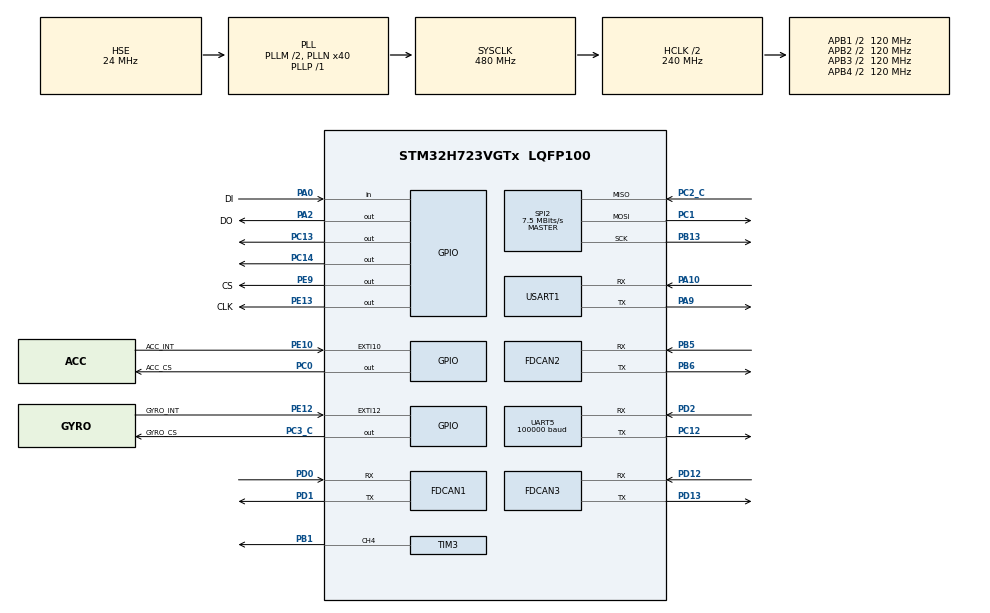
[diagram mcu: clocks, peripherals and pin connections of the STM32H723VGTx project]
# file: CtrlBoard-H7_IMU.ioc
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Dma.Request0=SPI2_RX
Dma.Request1=SPI2_TX
Dma.Request2=UART5_RX
Dma.Request3=USART1_TX
Dma.SPI2_RX.0.Direction=DMA_PERIPH_TO_MEMORY
Dma.SPI2_RX.0.EventEnable=DISABLE
Dma.SPI2_RX.0.FIFOMode=DMA_FIFOMODE_DISABLE
Dma.SPI2_RX.0.Instance=DMA1_Stream0
Dma.SPI2_RX.0.MemDataAlignment=DMA_MDATAALIGN_BYTE
Dma.SPI2_RX.0.MemInc=DMA_MINC_ENABLE
Dma.SPI2_RX.0.Mode=DMA_NORMAL
Dma.SPI2_RX.0.PeriphDataAlignment=DMA_PDATAALIGN_BYTE
Dma.SPI2_RX.0.PeriphInc=DMA_PINC_DISABLE
Dma.SPI2_RX.0.Polarity=HAL_DMAMUX_REQ_GEN_RISING
Dma.SPI2_RX.0.Priority=DMA_PRIORITY_VERY_HIGH
Dma.SPI2_RX.0.RequestNumber=1
Dma.SPI2_RX.0.SignalID=NONE
Dma.SPI2_RX.0.SyncEnable=DISABLE
Dma.SPI2_RX.0.SyncPolarity=HAL_DMAMUX_SYNC_NO_EVENT
Dma.SPI2_RX.0.SyncRequestNumber=1
Dma.SPI2_RX.0.SyncSignalID=NONE
Dma.SPI2_TX.1.Direction=DMA_MEMORY_TO_PERIPH
Dma.SPI2_TX.1.EventEnable=DISABLE
Dma.SPI2_TX.1.FIFOMode=DMA_FIFOMODE_DISABLE
Dma.SPI2_TX.1.Instance=DMA1_Stream2
Dma.SPI2_TX.1.MemDataAlignment=DMA_MDATAALIGN_BYTE
Dma.SPI2_TX.1.MemInc=DMA_MINC_ENABLE
Dma.SPI2_TX.1.Mode=DMA_NORMAL
Dma.SPI2_TX.1.PeriphDataAlignment=DMA_PDATAALIGN_BYTE
Dma.SPI2_TX.1.PeriphInc=DMA_PINC_DISABLE
Dma.SPI2_TX.1.Polarity=HAL_DMAMUX_REQ_GEN_RISING
Dma.SPI2_TX.1.Priority=DMA_PRIORITY_HIGH
Dma.SPI2_TX.1.RequestNumber=1
Dma.SPI2_TX.1.SignalID=NONE
Dma.SPI2_TX.1.SyncEnable=DISABLE
Dma.SPI2_TX.1.SyncPolarity=HAL_DMAMUX_SYNC_NO_EVENT
Dma.SPI2_TX.1.SyncRequestNumber=1
Dma.SPI2_TX.1.SyncSignalID=NONE
Dma.UART5_RX.2.Direction=DMA_PERIPH_TO_MEMORY
Dma.UART5_RX.2.EventEnable=DISABLE
Dma.UART5_RX.2.FIFOMode=DMA_FIFOMODE_DISABLE
Dma.UART5_RX.2.Instance=DMA1_Stream1
Dma.UART5_RX.2.MemDataAlignment=DMA_MDATAALIGN_BYTE
Dma.UART5_RX.2.MemInc=DMA_MINC_ENABLE
Dma.UART5_RX.2.Mode=DMA_NORMAL
Dma.UART5_RX.2.PeriphDataAlignment=DMA_PDATAALIGN_BYTE
Dma.UART5_RX.2.PeriphInc=DMA_PINC_DISABLE
Dma.UART5_RX.2.Polarity=HAL_DMAMUX_REQ_GEN_RISING
Dma.UART5_RX.2.Priority=DMA_PRIORITY_MEDIUM
Dma.UART5_RX.2.RequestNumber=1
Dma.UART5_RX.2.SignalID=NONE
Dma.UART5_RX.2.SyncEnable=DISABLE
Dma.UART5_RX.2.SyncPolarity=HAL_DMAMUX_SYNC_NO_EVENT
Dma.UART5_RX.2.SyncRequestNumber=1
Dma.UART5_RX.2.SyncSignalID=NONE
Dma.USART1_TX.3.Direction=DMA_MEMORY_TO_PERIPH
Dma.USART1_TX.3.EventEnable=DISABLE
Dma.USART1_TX.3.FIFOMode=DMA_FIFOMODE_DISABLE
Dma.USART1_TX.3.Instance=DMA1_Stream3
Dma.USART1_TX.3.MemDataAlignment=DMA_MDATAALIGN_BYTE
Dma.USART1_TX.3.MemInc=DMA_MINC_ENABLE
Dma.USART1_TX.3.Mode=DMA_NORMAL
Dma.USART1_TX.3.PeriphDataAlignment=DMA_PDATAALIGN_BYTE
Dma.USART1_TX.3.PeriphInc=DMA_PINC_DISABLE
Dma.USART1_TX.3.Polarity=HAL_DMAMUX_REQ_GEN_RISING
Dma.USART1_TX.3.Priority=DMA_PRIORITY_LOW
Dma.USART1_TX.3.RequestNumber=1
Dma.USART1_TX.3.SignalID=NONE
Dma.USART1_TX.3.SyncEnable=DISABLE
Dma.USART1_TX.3.SyncPolarity=HAL_DMAMUX_SYNC_NO_EVENT
Dma.USART1_TX.3.SyncRequestNumber=1
Dma.USART1_TX.3.SyncSignalID=NONE
FDCAN1.CalculateBaudRateNominal=1000000
FDCAN1.CalculateTimeBitNominal=1000
FDCAN1.CalculateTimeQuantumNominal=40.0
FDCAN1.DataPrescaler=4
FDCAN1.DataTimeSeg1=19
FDCAN1.DataTimeSeg2=5
FDCAN1.ExtFiltersNbr=5
FDCAN1.NominalPrescaler=4
FDCAN1.NominalTimeSeg1=19
FDCAN1.NominalTimeSeg2=5
FDCAN1.RxFifo0ElmtSize=FDCAN_DATA_BYTES_24
FDCAN1.RxFifo0ElmtsNbr=4
FDCAN1.RxFifo1ElmtSize=FDCAN_DATA_BYTES_24
FDCAN1.StdFiltersNbr=5
FDCAN1.TxElmtSize=FDCAN_DATA_BYTES_24
FDCAN1.TxFifoQueueElmtsNbr=8
FDCAN2.CalculateBaudRateNominal=1000000
FDCAN2.CalculateTimeBitNominal=1000
FDCAN2.CalculateTimeQuantumNominal=50.0
FDCAN2.DataPrescaler=5
FDCAN2.DataTimeSeg1=14
FDCAN2.DataTimeSeg2=5
FDCAN2.ExtFiltersNbr=5
FDCAN2.MessageRAMOffset=854
FDCAN2.NominalPrescaler=5
FDCAN2.NominalTimeSeg1=14
FDCAN2.NominalTimeSeg2=5
FDCAN2.RxFifo1ElmtSize=FDCAN_DATA_BYTES_24
FDCAN2.RxFifo1ElmtsNbr=4
FDCAN2.StdFiltersNbr=5
FDCAN2.TxElmtSize=FDCAN_DATA_BYTES_16
FDCAN2.TxFifoQueueElmtsNbr=4
FDCAN3.CalculateBaudRateNominal=1000000
FDCAN3.CalculateTimeBitNominal=1000
FDCAN3.CalculateTimeQuantumNominal=50.0
FDCAN3.DataPrescaler=5
FDCAN3.DataTimeSeg1=14
FDCAN3.DataTimeSeg2=5
FDCAN3.ExtFiltersNbr=5
FDCAN3.MessageRAMOffset=1709
FDCAN3.NominalPrescaler=5
FDCAN3.NominalTimeSeg1=14
FDCAN3.NominalTimeSeg2=5
FDCAN3.RxFifo0ElmtsNbr=2
FDCAN3.StdFiltersNbr=5
FDCAN3.TxFifoQueueElmtsNbr=3
FREERTOS.MEMORY_ALLOCATION=0
FREERTOS.Tasks01=defaultTask,0,128,StartDefaultTask,Default,NULL,Dynamic,NULL,NULL
FREERTOS.configENABLE_FPU=1
FREERTOS.configTOTAL_HEAP_SIZE=30720
Mcu.Family=STM32H7
Mcu.Name=STM32H723VGTx
Mcu.Package=LQFP100
NVIC.DMA1_Stream0_IRQn=true\:6\:0\:true\:false\:true\:true\:false\:true\:true
NVIC.DMA1_Stream1_IRQn=true\:5\:0\:true\:false\:true\:true\:false\:true\:true
NVIC.DMA1_Stream2_IRQn=true\:6\:0\:true\:false\:true\:true\:false\:true\:true
NVIC.DMA1_Stream3_IRQn=true\:5\:0\:false\:false\:true\:true\:false\:true\:true
NVIC.FDCAN1_IT0_IRQn=true\:6\:0\:true\:false\:true\:true\:true\:true\:true
NVIC.FDCAN1_IT1_IRQn=true\:5\:0\:false\:false\:true\:true\:true\:true\:true
NVIC.FDCAN2_IT0_IRQn=true\:5\:0\:true\:false\:true\:true\:true\:true\:true
NVIC.FDCAN3_IT0_IRQn=true\:5\:0\:false\:false\:true\:true\:true\:true\:true
NVIC.PriorityGroup=NVIC_PRIORITYGROUP_4
NVIC.SPI2_IRQn=true\:5\:0\:true\:false\:true\:true\:false\:true\:true
NVIC.TIM2_IRQn=true\:15\:0\:false\:false\:true\:false\:false\:true\:true
NVIC.TimeBase=TIM2_IRQn
NVIC.TimeBaseIP=TIM2
NVIC.UART5_IRQn=true\:5\:0\:false\:false\:true\:true\:true\:true\:true
NVIC.USART1_IRQn=true\:5\:0\:false\:false\:true\:true\:true\:true\:true
PA0.GPIO_Label=DI
PA0.GPIO_PuPd=GPIO_PULLUP
PA0.Signal=GPIO_Input
PA10.Mode=Asynchronous
PA10.Signal=USART1_RX
PA13(JTMS/SWDIO).Mode=Serial_Wire
PA13(JTMS/SWDIO).Signal=DEBUG_JTMS-SWDIO
PA14(JTCK/SWCLK).Mode=Serial_Wire
PA14(JTCK/SWCLK).Signal=DEBUG_JTCK-SWCLK
PA2.GPIO_Label=DO
PA2.GPIO_PuPd=GPIO_PULLUP
PA2.GPIO_Speed=GPIO_SPEED_FREQ_VERY_HIGH
PA2.PinState=GPIO_PIN_SET
PA2.Signal=GPIO_Output
PA9.Mode=Asynchronous
PA9.Signal=USART1_TX
PB1.Signal=S_TIM3_CH4
PB13.GPIO_Speed=GPIO_SPEED_FREQ_VERY_HIGH
PB13.Mode=Full_Duplex_Master
PB13.Signal=SPI2_SCK
PB5.Mode=FDCAN_Activate
PB5.Signal=FDCAN2_RX
PB6.Mode=FDCAN_Activate
PB6.Signal=FDCAN2_TX
PC0.GPIO_Label=ACC_CS
PC0.GPIO_Speed=GPIO_SPEED_FREQ_VERY_HIGH
PC0.PinState=GPIO_PIN_SET
PC0.Signal=GPIO_Output
PC1.GPIO_Speed=GPIO_SPEED_FREQ_VERY_HIGH
PC1.Mode=Full_Duplex_Master
PC1.Signal=SPI2_MOSI
PC12.Mode=Asynchronous
PC12.Signal=UART5_TX
PC13.Signal=GPIO_Output
PC14-OSC32_IN.Signal=GPIO_Output
PC2_C.GPIO_Speed=GPIO_SPEED_FREQ_VERY_HIGH
PC2_C.Mode=Full_Duplex_Master
PC2_C.Signal=SPI2_MISO
PC3_C.GPIO_Label=GYRO_CS
PC3_C.GPIO_Speed=GPIO_SPEED_FREQ_VERY_HIGH
PC3_C.PinState=GPIO_PIN_SET
PC3_C.Signal=GPIO_Output
PD0.Mode=FDCAN_Activate
PD0.Signal=FDCAN1_RX
PD1.Mode=FDCAN_Activate
PD1.Signal=FDCAN1_TX
PD12.Mode=FDCAN_Activate
PD12.Signal=FDCAN3_RX
PD13.Mode=FDCAN_Activate
PD13.Signal=FDCAN3_TX
PD2.GPIO_PuPd=GPIO_NOPULL
PD2.Mode=Asynchronous
PD2.Signal=UART5_RX
PE10.GPIO_Label=ACC_INT
PE10.Signal=GPXTI10
PE12.GPIO_Label=GYRO_INT
PE12.Signal=GPXTI12
PE13.GPIO_Label=CLK
PE13.GPIO_PuPd=GPIO_PULLUP
PE13.GPIO_Speed=GPIO_SPEED_FREQ_VERY_HIGH
PE13.PinState=GPIO_PIN_SET
PE13.Signal=GPIO_Output
PE9.GPIO_Label=CS
PE9.GPIO_PuPd=GPIO_PULLUP
PE9.GPIO_Speed=GPIO_SPEED_FREQ_VERY_HIGH
PE9.PinState=GPIO_PIN_SET
PE9.Signal=GPIO_Output
PH0-OSC_IN.Mode=HSE-External-Oscillator
PH0-OSC_IN.Signal=RCC_OSC_IN
PH1-OSC_OUT.Mode=HSE-External-Oscillator
PH1-OSC_OUT.Signal=RCC_OSC_OUT
ProjectManager.HeapSize=0x200
ProjectManager.StackSize=0x800
ProjectManager.TargetToolchain=MDK-ARM V5.27
RCC.ADCFreq_Value=100000000
RCC.APB1Freq_Value=120000000
RCC.APB2Freq_Value=120000000
RCC.APB3Freq_Value=120000000
RCC.APB4Freq_Value=120000000
RCC.CortexFreq_Value=480000000
RCC.D1PPRE=RCC_APB3_DIV2
RCC.D2PPRE1=RCC_APB1_DIV2
RCC.D2PPRE2=RCC_APB2_DIV2
RCC.D3PPRE=RCC_APB4_DIV2
RCC.DIVM1=2
RCC.DIVM2=24
RCC.DIVN1=40
RCC.DIVN2=200
RCC.DIVP1=1
RCC.FDCANCLockSelection=RCC_FDCANCLKSOURCE_PLL2
RCC.HCLKFreq_Value=240000000
RCC.HPRE=RCC_HCLK_DIV2
RCC.HSE_VALUE=24000000
RCC.PLL2FRACN=0
RCC.PLL3FRACN=0
RCC.PLLFRACN=0
RCC.PLLSourceVirtual=RCC_PLLSOURCE_HSE
RCC.SYSCLKFreq_VALUE=480000000
RCC.SYSCLKSource=RCC_SYSCLKSOURCE_PLLCLK
RCC.USBFreq_Value=240000000
SH.S_TIM3_CH4.0=TIM3_CH4,PWM Generation4 CH4
SPI2.BaudRatePrescaler=SPI_BAUDRATEPRESCALER_32
SPI2.CLKPhase=SPI_PHASE_2EDGE
SPI2.CLKPolarity=SPI_POLARITY_HIGH
SPI2.CalculateBaudRate=7.5 MBits/s
SPI2.DataSize=SPI_DATASIZE_8BIT
SPI2.Direction=SPI_DIRECTION_2LINES
SPI2.Mode=SPI_MODE_MASTER
SPI2.VirtualType=VM_MASTER
TIM3.AutoReloadPreload=TIM_AUTORELOAD_PRELOAD_ENABLE
TIM3.Channel-PWM\ Generation4\ CH4=TIM_CHANNEL_4
TIM3.Period=10000-1
TIM3.Prescaler=24-1
UART5.BaudRate=100000
UART5.Parity=PARITY_EVEN
UART5.WordLength=WORDLENGTH_9B
USART1.VirtualMode-Asynchronous=VM_ASYNC
VP_FREERTOS_VS_CMSIS_V1.Mode=CMSIS_V1
VP_MEMORYMAP_VS_MEMORYMAP.Mode=CurAppReg
VP_SYS_VS_tim2.Mode=TIM2
board=custom

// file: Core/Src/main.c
/* USER CODE BEGIN Header */
/**
  ******************************************************************************
  * @file           : main.c
  * @brief          : Main program body
  ******************************************************************************
  * @attention
  *
  * Copyright (c) 2024 STMicroelectronics.
  * All rights reserved.
  *
  * This software is licensed under terms that can be found in the LICENSE file
  * in the root directory of this software component.
  * If no LICENSE file comes with this software, it is provided AS-IS.
  *
  ******************************************************************************
  */
/* USER CODE END Header */
#include "main.h"
#include "cmsis_os.h"
#include "dma.h"
#include "fdcan.h"
#include "memorymap.h"
#include "spi.h"
#include "tim.h"
#include "usart.h"
#include "gpio.h"

/* USER CODE BEGIN Includes */
#include "BMI088driver.h"
#include "kalman_filter.h"
#include "mahony_filter.h"
#include "bsp_dwt.h"
#include "BMI088Middleware.h"
#include "can_bsp.h"
#include "bsp_uart.h"
#include "remote_control.h"
/* USER CODE END Includes */

void SystemClock_Config(void);
void PeriphCommonClock_Config(void);
void MX_FREERTOS_Init(void);

int main(void)
{

  /* MCU Configuration--------------------------------------------------------*/

  /* Reset of all peripherals, Initializes the Flash interface and the Systick. */
   HAL_Init();

  /* USER CODE BEGIN Init */
//06 01 00 00 00 00 00 00 00 00 00 00 00 00 80 3F
  /* USER CODE END Init */

  /* Configure the system clock */
  SystemClock_Config();

  /* Configure the peripherals common clocks */
  PeriphCommonClock_Config();

  /* Initialize all configured peripherals */
  MX_GPIO_Init();
  MX_DMA_Init();
  MX_SPI2_Init();
  MX_FDCAN1_Init();
  MX_FDCAN2_Init();
  MX_TIM3_Init();
  MX_FDCAN3_Init();
  MX_UART5_Init();
  MX_USART1_UART_Init();
  /* USER CODE BEGIN 2 */
	DWT_Init(480);

  HAL_UARTEx_ReceiveToIdle_DMA(&huart5, sbus_rx_buf, RC_FRAME_LENGTH*2);

    /* BMI088初始化 *///之前已经对角速度和加速度的零飘校准过了，所以之后上电就不需要校准。如果硬件设备更换，则需要重新校准下
  while (BMI088_init(&hspi2, 0) != BMI088_NO_ERROR)
	{
	  ;
	}
	Power_OUT1_ON;//imu初始化完成，可控电源打开，led灯亮
	Power_OUT2_ON;

  FDCAN1_Config();//can过滤器初始化
	FDCAN2_Config();
  /* USER CODE END 2 */

  /* Call init function for freertos objects (in cmsis_os2.c) */
  MX_FREERTOS_Init();

  /* Start scheduler */
  osKernelStart();

  /* We should never get here as control is now taken by the scheduler */

  /* Infinite loop */
  while (1)
  {

  }
}

void SystemClock_Config(void)
{
  RCC_OscInitTypeDef RCC_OscInitStruct = {0};
  RCC_ClkInitTypeDef RCC_ClkInitStruct = {0};

  /** Supply configuration update enable
  */
  HAL_PWREx_ConfigSupply(PWR_LDO_SUPPLY);

  /** Configure the main internal regulator output voltage
  */
  __HAL_PWR_VOLTAGESCALING_CONFIG(PWR_REGULATOR_VOLTAGE_SCALE0);

  while(!__HAL_PWR_GET_FLAG(PWR_FLAG_VOSRDY)) {}

  /** Initializes the RCC Oscillators according to the specified parameters
  * in the RCC_OscInitTypeDef structure.
  */
  RCC_OscInitStruct.OscillatorType = RCC_OSCILLATORTYPE_HSE;
  RCC_OscInitStruct.HSEState = RCC_HSE_ON;
  RCC_OscInitStruct.PLL.PLLState = RCC_PLL_ON;
  RCC_OscInitStruct.PLL.PLLSource = RCC_PLLSOURCE_HSE;
  RCC_OscInitStruct.PLL.PLLM = 2;
  RCC_OscInitStruct.PLL.PLLN = 40;
  RCC_OscInitStruct.PLL.PLLP = 1;
  RCC_OscInitStruct.PLL.PLLQ = 2;
  RCC_OscInitStruct.PLL.PLLR = 2;
  RCC_OscInitStruct.PLL.PLLRGE = RCC_PLL1VCIRANGE_3;
  RCC_OscInitStruct.PLL.PLLVCOSEL = RCC_PLL1VCOWIDE;
  RCC_OscInitStruct.PLL.PLLFRACN = 0;
  if (HAL_RCC_OscConfig(&RCC_OscInitStruct) != HAL_OK)
  {
    Error_Handler();
  }

  /** Initializes the CPU, AHB and APB buses clocks
  */
  RCC_ClkInitStruct.ClockType = RCC_CLOCKTYPE_HCLK|RCC_CLOCKTYPE_SYSCLK
                              |RCC_CLOCKTYPE_PCLK1|RCC_CLOCKTYPE_PCLK2
                              |RCC_CLOCKTYPE_D3PCLK1|RCC_CLOCKTYPE_D1PCLK1;
  RCC_ClkInitStruct.SYSCLKSource = RCC_SYSCLKSOURCE_PLLCLK;
  RCC_ClkInitStruct.SYSCLKDivider = RCC_SYSCLK_DIV1;
  RCC_ClkInitStruct.AHBCLKDivider = RCC_HCLK_DIV2;
  RCC_ClkInitStruct.APB3CLKDivider = RCC_APB3_DIV2;
  RCC_ClkInitStruct.APB1CLKDivider = RCC_APB1_DIV2;
  RCC_ClkInitStruct.APB2CLKDivider = RCC_APB2_DIV2;
  RCC_ClkInitStruct.APB4CLKDivider = RCC_APB4_DIV2;

  if (HAL_RCC_ClockConfig(&RCC_ClkInitStruct, FLASH_LATENCY_3) != HAL_OK)
  {
    Error_Handler();
  }
}

void PeriphCommonClock_Config(void)
{
  RCC_PeriphCLKInitTypeDef PeriphClkInitStruct = {0};

  /** Initializes the peripherals clock
  */
  PeriphClkInitStruct.PeriphClockSelection = RCC_PERIPHCLK_FDCAN;
  PeriphClkInitStruct.PLL2.PLL2M = 24;
  PeriphClkInitStruct.PLL2.PLL2N = 200;
  PeriphClkInitStruct.PLL2.PLL2P = 2;
  PeriphClkInitStruct.PLL2.PLL2Q = 2;
  PeriphClkInitStruct.PLL2.PLL2R = 2;
  PeriphClkInitStruct.PLL2.PLL2RGE = RCC_PLL2VCIRANGE_0;
  PeriphClkInitStruct.PLL2.PLL2VCOSEL = RCC_PLL2VCOMEDIUM;
  PeriphClkInitStruct.PLL2.PLL2FRACN = 0;
  PeriphClkInitStruct.FdcanClockSelection = RCC_FDCANCLKSOURCE_PLL2;
  if (HAL_RCCEx_PeriphCLKConfig(&PeriphClkInitStruct) != HAL_OK)
  {
    Error_Handler();
  }
}

void HAL_TIM_PeriodElapsedCallback(TIM_HandleTypeDef *htim)
{
  if (htim->Instance == TIM2) {
    HAL_IncTick();
  }
}

void Error_Handler(void)
{
  __disable_irq();
  while (1)
  {
  }
}

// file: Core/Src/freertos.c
/* USER CODE BEGIN Header */
/**
  ******************************************************************************
  * File Name          : freertos.c
  * Description        : Code for freertos applications
  ******************************************************************************
  * @attention
  *
  * Copyright (c) 2024 STMicroelectronics.
  * All rights reserved.
  *
  * This software is licensed under terms that can be found in the LICENSE file
  * in the root directory of this software component.
  * If no LICENSE file comes with this software, it is provided AS-IS.
  *
  ******************************************************************************
  */
/* USER CODE END Header */

#include "FreeRTOS.h"
#include "task.h"
#include "main.h"
#include "cmsis_os.h"

/* USER CODE BEGIN Includes */
#include "INS_task.h"
#include "chassis_task.h"
#include "motor_control_task.h"
#include "observe_task.h"
#include "remote_task.h"
/* USER CODE END Includes */

/* USER CODE BEGIN Variables */
osThreadId defaultTaskHandle;
osThreadId INS_TASKHandle;
osThreadId CHASSIS_TASKHandle;
osThreadId MOTOR_CONTROL_TASKHandle;
osThreadId OBSERVE_TASKHandle;
osThreadId REMOTE_TASKHandle;
/* USER CODE END Variables */
osThreadId defaultTaskHandle;

/* USER CODE BEGIN FunctionPrototypes */

void StartDefaultTask(void const * argument);
void INS_Task(void const * argument);
void Chassis_Task(void const * argument);
void Motor_Control_Task(void const * argument);
void OBSERVE_Task(void const * argument);
void Remote_Task(void const * argument);

/* USER CODE END FunctionPrototypes */

void StartDefaultTask(void const * argument);

void MX_FREERTOS_Init(void); /* (MISRA C 2004 rule 8.1) */

void MX_FREERTOS_Init(void) {

  /* Create the thread(s) */
  /* definition and creation of defaultTask */
  osThreadDef(defaultTask, StartDefaultTask, osPriorityNormal, 0, 128);
  defaultTaskHandle = osThreadCreate(osThread(defaultTask), NULL);

  /* USER CODE BEGIN RTOS_THREADS */
  /* add threads, ... */
  /* definition and creation of INS_TASK */
  osThreadDef(INS_TASK, INS_Task, osPriorityRealtime, 0, 512);
  INS_TASKHandle = osThreadCreate(osThread(INS_TASK), NULL);

  /* definition and creation of CHASSISR_TASK */
  osThreadDef(CHASSISR_TASK, Chassis_Task, osPriorityAboveNormal, 0, 512);
  CHASSIS_TASKHandle = osThreadCreate(osThread(CHASSISR_TASK), NULL);

  /* definition and creation of CHASSISL_TASK */
  osThreadDef(CHASSISL_TASK, Motor_Control_Task, osPriorityAboveNormal, 0, 512);
  MOTOR_CONTROL_TASKHandle = osThreadCreate(osThread(CHASSISL_TASK), NULL);

  /* definition and creation of OBSERVE_TASK */
  osThreadDef(OBSERVE_TASK, OBSERVE_Task, osPriorityHigh, 0, 512);
  OBSERVE_TASKHandle = osThreadCreate(osThread(OBSERVE_TASK), NULL);

  /* definition and creation of PS2_TASK */
  osThreadDef(REMOTE_TASK, Remote_Task, osPriorityAboveNormal, 0, 512);
  REMOTE_TASKHandle = osThreadCreate(osThread(REMOTE_TASK), NULL);
  /* USER CODE END RTOS_THREADS */

}

void StartDefaultTask(void const * argument)
{
  for(;;)
  {
    osDelay(1);
  }
}

/* USER CODE BEGIN Application */
/* USER CODE BEGIN Header_INS_Task */
/**
* @brief Function implementing the ins_task thread.
* @param argument: Not used
* @retval None
*/
/* USER CODE END Header_INS_Task */
void INS_Task(void const * argument)
{
  /* USER CODE BEGIN INS_Task */

  /* Infinite loop */
  for(;;)
  {
    INS_task();
  }
  /* USER CODE END INS_Task */
}

/* USER CODE BEGIN Header_ChassisR_Task */
/**
* @brief Function implementing the CHASSISR_TASK thread.
* @param argument: Not used
* @retval None
*/
/* USER CODE END Header_ChassisR_Task */
void Chassis_Task(void const * argument)
{
  /* USER CODE BEGIN ChassisR_Task */
  /* Infinite loop */
  for(;;)
  {
    Chassis_task();
  }
  /* USER CODE END ChassisR_Task */
}

/* USER CODE BEGIN Header_ChassisL_Task */
/**
* @brief Function implementing the CHASSISL_TASK thread.
* @param argument: Not used
* @retval None
*/
/* USER CODE END Header_ChassisL_Task */
void Motor_Control_Task(void const * argument)
{
  /* USER CODE BEGIN ChassisL_Task */
  /* Infinite loop */
  for(;;)
  {
    motor_control_task();
  }
  /* USER CODE END ChassisL_Task */
}

/* USER CODE BEGIN Header_OBSERVE_Task */
/**
* @brief Function implementing the OBSERVE_TASK thread.
* @param argument: Not used
* @retval None
*/
/* USER CODE END Header_OBSERVE_Task */
void OBSERVE_Task(void const * argument)
{
  /* USER CODE BEGIN OBSERVE_Task */
  /* Infinite loop */
  for(;;)
  {
    Observe_task();
  }
  /* USER CODE END OBSERVE_Task */
}

/* USER CODE BEGIN Header_PS2_Task */
/**
* @brief Function implementing the PS2_TASK thread.
* @param argument: Not used
* @retval None
*/
/* USER CODE END Header_PS2_Task */
void Remote_Task(void const * argument)
{
  /* USER CODE BEGIN PS2_Task */
  /* Infinite loop */
  for(;;)
  {
    remote_task();
  }
  /* USER CODE END PS2_Task */
}

/* USER CODE END Application */
